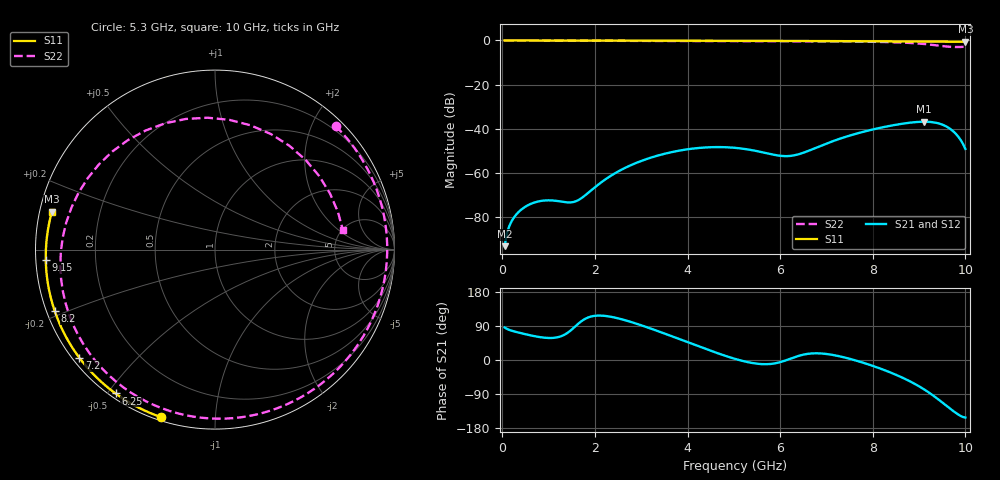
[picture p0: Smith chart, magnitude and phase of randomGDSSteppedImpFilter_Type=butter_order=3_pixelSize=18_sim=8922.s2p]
! freq	dB(S11)	phase(S11)	dB(S12)	phase(S12)
!  dB(S21)	phase(S21)	dB(S22)	phase(S22)
!S-par simulation data
#  GHz  S  DB  R 50
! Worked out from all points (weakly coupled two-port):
!   200 points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, 50 MHz to 10 GHz, reference 50 ohm
!   highest |S21| = -36.79 dB at 9.1 GHz (marker M1); lowest = -93.1 dB at 50 MHz (marker M2)
!   lowest |S11| = -0.6 dB at 10 GHz (marker M3), VSWR 28.77, Z = 1.76 + j5.71 ohm
!   |S11| at or under -10 dB: nowhere
!   |S22| runs from -3.0 to 0.0 dB; largest |S21 - S12| = 0
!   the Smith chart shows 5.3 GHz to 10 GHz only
!   S11 on the Smith chart (normalised r, x): 5.3 GHz: 0.02, -0.73; 6.25 GHz: 0.02, -0.52; 7.2 GHz: 0.02, -0.35; 8.2 GHz: 0.02, -0.18; 9.15 GHz: 0.03, -0.03; 10 GHz: 0.04, +0.11
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0.05  -0.00 -1.1  -93.13 85.7  -93.13 85.7  -0.00 -3.0
0.95  -0.03 -20.9  -72.40 58.4  -72.40 58.4  -0.07 -55.9
1.75  -0.05 -38.1  -70.76 105.8  -70.76 105.8  -0.13 -101.2
2.65  -0.07 -56.9  -57.70 105.1  -57.70 105.1  -0.18 -151.3
3.4  -0.09 -71.9  -51.86 74.4  -51.86 74.4  -0.23 165.7
4.3  -0.13 -89.2  -48.57 33.4  -48.57 33.4  -0.29 110.5
5.05  -0.16 -103.2  -48.66 2.1  -48.66 2.1  -0.33 61.9
5.3  -0.17 -107.7  -49.33 -5.6  -49.33 -5.6  -0.34 45.7
5.8  -0.20 -116.7  -51.47 -10.4  -51.47 -10.4  -0.35 14.1
6.25  -0.23 -124.7  -52.19 4.8  -52.19 4.8  -0.37 -12.9
6.7  -0.26 -132.6  -49.21 17.5  -49.21 17.5  -0.39 -38.4
7.2  -0.30 -141.4  -45.13 11.9  -45.13 11.9  -0.44 -65.3
7.7  -0.34 -150.2  -41.88 -3.7  -41.88 -3.7  -0.53 -91.9
8.2  -0.39 -159.1  -39.37 -24.3  -39.37 -24.3  -0.69 -120.6
8.35  -0.40 -161.8  -38.74 -31.4  -38.74 -31.4  -0.76 -130.1
8.8  -0.45 -170.0  -37.23 -56.1  -37.23 -56.1  -1.12 -164.7
9.1  -0.49 -175.6  -36.79 -76.9  -36.79 -76.9  -1.58 163.7
9.15  -0.50 -176.5  -36.80 -80.8  -36.80 -80.8  -1.69 157.4
9.4  -0.53 178.7  -37.43 -102.5  -37.43 -102.5  -2.29 120.2
9.6  -0.55 174.9  -39.07 -121.7  -39.07 -121.7  -2.76 83.7
9.8  -0.58 171.0  -42.42 -140.2  -42.42 -140.2  -2.97 44.7
10  -0.60 167.0  -49.13 -151.9  -49.13 -151.9  -2.84 8.5
